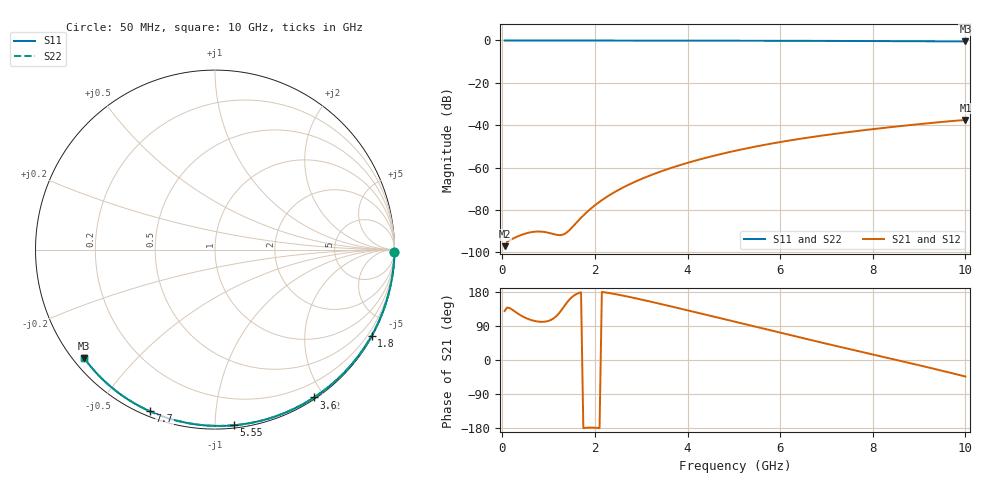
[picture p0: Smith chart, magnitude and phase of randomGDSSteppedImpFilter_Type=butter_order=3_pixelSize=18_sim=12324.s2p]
! freq	dB(S11)	phase(S11)	dB(S12)	phase(S12)
!  dB(S21)	phase(S21)	dB(S22)	phase(S22)
!S-par simulation data
#  GHz  S  DB  R 50
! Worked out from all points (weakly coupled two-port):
!   200 points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, 50 MHz to 10 GHz, reference 50 ohm
!   highest |S21| = -37.50 dB at 10 GHz (marker M1); lowest = -97.1 dB at 50 MHz (marker M2)
!   lowest |S11| = -0.5 dB at 10 GHz (marker M3), VSWR 36.62, Z = 1.54 - j18 ohm
!   |S11| at or under -10 dB: nowhere
!   |S22| runs from -0.5 to 0.0 dB; largest |S21 - S12| = 0
!   S11 on the Smith chart (normalised r, x): 50 MHz: open; 1.8 GHz: 0.03, -3.90; 3.6 GHz: 0.02, -1.87; 5.55 GHz: 0.02, -1.11; 7.7 GHz: 0.02, -0.68; 10 GHz: 0.03, -0.36
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0.05  -0.00 -0.8  -97.07 129.3  -97.07 129.3  -0.00 -0.8
0.9  -0.02 -14.5  -90.35 100.9  -90.35 100.9  -0.02 -14.5
1.75  -0.04 -28.0  -82.58 -179.9  -82.58 -179.9  -0.04 -28.0
1.8  -0.04 -28.8  -81.53 -179.0  -81.53 -179.0  -0.04 -28.8
1.85  -0.04 -29.6  -80.53 -178.5  -80.53 -178.5  -0.04 -29.6
1.9  -0.04 -30.3  -79.57 -178.3  -79.57 -178.3  -0.04 -30.3
2.05  -0.04 -32.7  -76.93 -179.1  -76.93 -179.1  -0.04 -32.7
2.25  -0.05 -35.8  -73.88 177.9  -73.88 177.9  -0.05 -35.8
2.45  -0.05 -38.9  -71.24 173.7  -71.24 173.7  -0.05 -38.9
2.65  -0.05 -41.9  -68.92 168.8  -68.92 168.8  -0.05 -41.9
3  -0.06 -47.2  -65.40 159.6  -65.40 159.6  -0.06 -47.2
3.4  -0.07 -53.2  -62.00 148.4  -62.00 148.4  -0.07 -53.2
3.6  -0.08 -56.2  -60.49 142.7  -60.49 142.7  -0.08 -56.2
4.3  -0.09 -66.4  -55.92 122.4  -55.92 122.4  -0.09 -66.4
5.05  -0.12 -76.9  -51.96 100.2  -51.96 100.2  -0.12 -76.9
5.55  -0.14 -83.8  -49.73 85.4  -49.73 85.4  -0.14 -83.8
6.1  -0.16 -91.2  -47.57 69.1  -47.57 69.1  -0.16 -91.2
6.7  -0.19 -99.1  -45.52 51.6  -45.52 51.6  -0.19 -99.1
7.7  -0.25 -111.9  -42.63 23.0  -42.63 23.0  -0.25 -111.9
8.35  -0.31 -120.0  -40.99 4.7  -40.99 4.7  -0.31 -120.0
9.2  -0.38 -130.5  -39.06 -19.6  -39.06 -19.6  -0.38 -130.5
10  -0.47 -140.4  -37.50 -43.6  -37.50 -43.6  -0.47 -140.4
